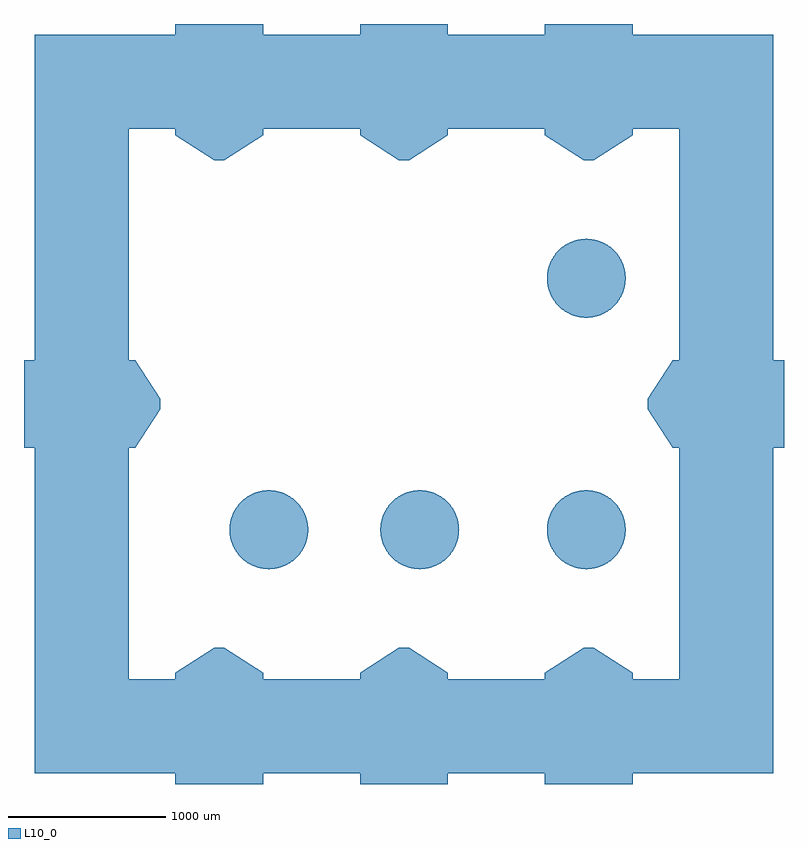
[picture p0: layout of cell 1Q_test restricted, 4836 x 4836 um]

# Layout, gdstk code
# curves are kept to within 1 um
import gdstk
lib = gdstk.Library(unit=1e-6, precision=1e-09)
def R(c, l, rs):  # rectangles x0, y0, x1, y1
    for r in rs: c.add(gdstk.rectangle(r[:2], r[2:], *l))
def P(c, l, *ps):  # polygons
    for p in ps: c.add(gdstk.Polygon(p, *l))
L10_0 = (10, 0)

c_1q_test_restricted = lib.new_cell('1Q_test restricted')
R(c_1q_test_restricted, L10_0, [(1454,0,2071,600), (1454,0,2071,600), (2629,0,3246,600), (2629,0,3246,600), (1454,4100,2071,4700), (1454,4100,2071,4700), (2629,4100,3246,4700), (2629,4100,3246,4700)])
P(c_1q_test_restricted, L10_0, [(600,4100),(896,4100),(896,4700),(0,4700),(0,2629),(600,2629)],
  [(4700,4700),(3804,4700),(3804,4100),(4100,4100),(4100,2629),(4700,2629)],
  [(4700,2071),(4100,2071),(4100,600),(3804,600),(3804,0),(4700,0)],
  [(896,600),(600,600),(600,2071),(0,2071),(0,0),(896,0)],
  [(800,2318),(800,2382),(640,2629),(-68,2629),(-68,2071),(640,2071)],
  [(3900,2382),(3900,2318),(4060,2071),(4768,2071),(4768,2629),(4060,2629)],
  [(1207,800),(1143,800),(896,640),(896,-68),(1454,-68),(1454,640)],
  [(1143,3900),(1207,3900),(1454,4060),(1454,4768),(896,4768),(896,4060)],
  [(2382,800),(2318,800),(2071,640),(2071,-68),(2629,-68),(2629,640)],
  [(2318,3900),(2382,3900),(2629,4060),(2629,4768),(2071,4768),(2071,4060)],
  [(3557,800),(3493,800),(3246,640),(3246,-68),(3804,-68),(3804,640)],
  [(3493,3900),(3557,3900),(3804,4060),(3804,4768),(3246,4768),(3246,4060)],
  [(1490,1550),(1740,1550),(1738.982,1572.538),(1735.936,1594.893),(1730.887,1616.882),(1723.877,1638.326),(1706.506,1675),(1694.356,1694.01),(1680.541,1711.847),(1661.925,1731.499),(1644.862,1746.259),(1626.538,1759.421),(1607.102,1770.878),(1586.712,1780.536),(1561.22,1789.641),(1539.326,1795.086),(1512.538,1798.982),(1490,1800),(1462.97,1798.534),(1440.674,1795.086),(1414.465,1788.316),(1393.288,1780.536),(1368.929,1768.728),(1345.99,1754.356),(1328.153,1740.541),(1308.501,1721.925),(1290.977,1701.294),(1275.786,1678.888),(1263.106,1654.972),(1253.087,1629.825),(1245.845,1603.743),(1241.466,1577.03),(1240,1550)],
  [(1490,1550),(1240,1550),(1241.018,1527.462),(1244.064,1505.107),(1249.113,1483.118),(1256.123,1461.674),(1273.494,1425),(1285.644,1405.99),(1299.459,1388.153),(1318.075,1368.501),(1335.138,1353.741),(1353.462,1340.579),(1372.898,1329.122),(1393.288,1319.464),(1418.78,1310.359),(1440.674,1304.914),(1467.462,1301.018),(1490,1300),(1517.03,1301.466),(1539.326,1304.914),(1565.535,1311.684),(1586.712,1319.464),(1611.071,1331.272),(1634.01,1345.644),(1651.847,1359.459),(1671.499,1378.075),(1689.023,1398.706),(1704.214,1421.112),(1716.894,1445.028),(1726.913,1470.175),(1734.155,1496.257),(1738.534,1522.97),(1740,1550)],
  [(2450,1550),(2700,1550),(2698.982,1572.538),(2695.936,1594.893),(2690.887,1616.882),(2683.877,1638.326),(2666.506,1675),(2654.356,1694.01),(2640.541,1711.847),(2621.925,1731.499),(2604.862,1746.259),(2586.538,1759.421),(2567.102,1770.878),(2546.712,1780.536),(2521.22,1789.641),(2499.326,1795.086),(2472.538,1798.982),(2450,1800),(2422.97,1798.534),(2400.674,1795.086),(2374.465,1788.316),(2353.288,1780.536),(2328.929,1768.728),(2305.99,1754.356),(2288.153,1740.541),(2268.501,1721.925),(2250.977,1701.294),(2235.786,1678.888),(2223.106,1654.972),(2213.087,1629.825),(2205.845,1603.743),(2201.466,1577.03),(2200,1550)],
  [(2450,1550),(2200,1550),(2201.018,1527.462),(2204.064,1505.107),(2209.113,1483.118),(2216.123,1461.674),(2233.494,1425),(2245.644,1405.99),(2259.459,1388.153),(2278.075,1368.501),(2295.138,1353.741),(2313.462,1340.579),(2332.898,1329.122),(2353.288,1319.464),(2378.78,1310.359),(2400.674,1304.914),(2427.462,1301.018),(2450,1300),(2477.03,1301.466),(2499.326,1304.914),(2525.535,1311.684),(2546.712,1319.464),(2571.071,1331.272),(2594.01,1345.644),(2611.847,1359.459),(2631.499,1378.075),(2649.023,1398.706),(2664.214,1421.112),(2676.894,1445.028),(2686.913,1470.175),(2694.155,1496.257),(2698.534,1522.97),(2700,1550)],
  [(3510,1550),(3760,1550),(3758.982,1572.538),(3755.936,1594.893),(3750.887,1616.882),(3743.877,1638.326),(3726.506,1675),(3714.356,1694.01),(3700.541,1711.847),(3681.925,1731.499),(3664.862,1746.259),(3646.538,1759.421),(3627.102,1770.878),(3606.712,1780.536),(3581.22,1789.641),(3559.326,1795.086),(3532.538,1798.982),(3510,1800),(3482.97,1798.534),(3460.674,1795.086),(3434.465,1788.316),(3413.288,1780.536),(3388.929,1768.728),(3365.99,1754.356),(3348.153,1740.541),(3328.501,1721.925),(3310.977,1701.294),(3295.786,1678.888),(3283.106,1654.972),(3273.087,1629.825),(3265.845,1603.743),(3261.466,1577.03),(3260,1550)],
  [(3510,1550),(3260,1550),(3261.018,1527.462),(3264.064,1505.107),(3269.113,1483.118),(3276.123,1461.674),(3293.494,1425),(3305.644,1405.99),(3319.459,1388.153),(3338.075,1368.501),(3355.138,1353.741),(3373.462,1340.579),(3392.898,1329.122),(3413.288,1319.464),(3438.78,1310.359),(3460.674,1304.914),(3487.462,1301.018),(3510,1300),(3537.03,1301.466),(3559.326,1304.914),(3585.535,1311.684),(3606.712,1319.464),(3631.071,1331.272),(3654.01,1345.644),(3671.847,1359.459),(3691.499,1378.075),(3709.023,1398.706),(3724.214,1421.112),(3736.894,1445.028),(3746.913,1470.175),(3754.155,1496.257),(3758.534,1522.97),(3760,1550)],
  [(3510,1550),(3760,1550),(3758.982,1572.538),(3755.936,1594.893),(3750.887,1616.882),(3743.877,1638.326),(3726.506,1675),(3714.356,1694.01),(3700.541,1711.847),(3681.925,1731.499),(3664.862,1746.259),(3646.538,1759.421),(3627.102,1770.878),(3606.712,1780.536),(3581.22,1789.641),(3559.326,1795.086),(3532.538,1798.982),(3510,1800),(3482.97,1798.534),(3460.674,1795.086),(3434.465,1788.316),(3413.288,1780.536),(3388.929,1768.728),(3365.99,1754.356),(3348.153,1740.541),(3328.501,1721.925),(3310.977,1701.294),(3295.786,1678.888),(3283.106,1654.972),(3273.087,1629.825),(3265.845,1603.743),(3261.466,1577.03),(3260,1550)],
  [(3510,1550),(3260,1550),(3261.018,1527.462),(3264.064,1505.107),(3269.113,1483.118),(3276.123,1461.674),(3293.494,1425),(3305.644,1405.99),(3319.459,1388.153),(3338.075,1368.501),(3355.138,1353.741),(3373.462,1340.579),(3392.898,1329.122),(3413.288,1319.464),(3438.78,1310.359),(3460.674,1304.914),(3487.462,1301.018),(3510,1300),(3537.03,1301.466),(3559.326,1304.914),(3585.535,1311.684),(3606.712,1319.464),(3631.071,1331.272),(3654.01,1345.644),(3671.847,1359.459),(3691.499,1378.075),(3709.023,1398.706),(3724.214,1421.112),(3736.894,1445.028),(3746.913,1470.175),(3754.155,1496.257),(3758.534,1522.97),(3760,1550)],
  [(3510,1550),(3760,1550),(3758.982,1572.538),(3755.936,1594.893),(3750.887,1616.882),(3743.877,1638.326),(3726.506,1675),(3714.356,1694.01),(3700.541,1711.847),(3681.925,1731.499),(3664.862,1746.259),(3646.538,1759.421),(3627.102,1770.878),(3606.712,1780.536),(3581.22,1789.641),(3559.326,1795.086),(3532.538,1798.982),(3510,1800),(3482.97,1798.534),(3460.674,1795.086),(3434.465,1788.316),(3413.288,1780.536),(3388.929,1768.728),(3365.99,1754.356),(3348.153,1740.541),(3328.501,1721.925),(3310.977,1701.294),(3295.786,1678.888),(3283.106,1654.972),(3273.087,1629.825),(3265.845,1603.743),(3261.466,1577.03),(3260,1550)],
  [(3510,1550),(3260,1550),(3261.018,1527.462),(3264.064,1505.107),(3269.113,1483.118),(3276.123,1461.674),(3293.494,1425),(3305.644,1405.99),(3319.459,1388.153),(3338.075,1368.501),(3355.138,1353.741),(3373.462,1340.579),(3392.898,1329.122),(3413.288,1319.464),(3438.78,1310.359),(3460.674,1304.914),(3487.462,1301.018),(3510,1300),(3537.03,1301.466),(3559.326,1304.914),(3585.535,1311.684),(3606.712,1319.464),(3631.071,1331.272),(3654.01,1345.644),(3671.847,1359.459),(3691.499,1378.075),(3709.023,1398.706),(3724.214,1421.112),(3736.894,1445.028),(3746.913,1470.175),(3754.155,1496.257),(3758.534,1522.97),(3760,1550)],
  [(3510,3150),(3760,3150),(3758.982,3172.538),(3755.936,3194.893),(3750.887,3216.882),(3743.877,3238.326),(3726.506,3275),(3714.356,3294.01),(3700.541,3311.847),(3681.925,3331.499),(3664.862,3346.259),(3646.538,3359.421),(3627.102,3370.878),(3606.712,3380.536),(3581.22,3389.641),(3559.326,3395.086),(3532.538,3398.982),(3510,3400),(3482.97,3398.534),(3460.674,3395.086),(3434.465,3388.316),(3413.288,3380.536),(3388.929,3368.728),(3365.99,3354.356),(3348.153,3340.541),(3328.501,3321.925),(3310.977,3301.294),(3295.786,3278.888),(3283.106,3254.972),(3273.087,3229.825),(3265.845,3203.743),(3261.466,3177.03),(3260,3150)],
  [(3510,3150),(3260,3150),(3261.018,3127.462),(3264.064,3105.107),(3269.113,3083.118),(3276.123,3061.674),(3293.494,3025),(3305.644,3005.99),(3319.459,2988.153),(3338.075,2968.501),(3355.138,2953.741),(3373.462,2940.579),(3392.898,2929.122),(3413.288,2919.464),(3438.78,2910.359),(3460.674,2904.914),(3487.462,2901.018),(3510,2900),(3537.03,2901.466),(3559.326,2904.914),(3585.535,2911.684),(3606.712,2919.464),(3631.071,2931.272),(3654.01,2945.644),(3671.847,2959.459),(3691.499,2978.075),(3709.023,2998.706),(3724.214,3021.112),(3736.894,3045.028),(3746.913,3070.175),(3754.155,3096.257),(3758.534,3122.97),(3760,3150)],
  [(600,4100),(896,4100),(896,4700),(0,4700),(0,2629),(600,2629)],
  [(4700,4700),(3804,4700),(3804,4100),(4100,4100),(4100,2629),(4700,2629)],
  [(4700,2071),(4100,2071),(4100,600),(3804,600),(3804,0),(4700,0)],
  [(896,600),(600,600),(600,2071),(0,2071),(0,0),(896,0)],
  [(800,2318),(800,2382),(640,2629),(-68,2629),(-68,2071),(640,2071)],
  [(3900,2382),(3900,2318),(4060,2071),(4768,2071),(4768,2629),(4060,2629)],
  [(1207,800),(1143,800),(896,640),(896,-68),(1454,-68),(1454,640)],
  [(1143,3900),(1207,3900),(1454,4060),(1454,4768),(896,4768),(896,4060)],
  [(2382,800),(2318,800),(2071,640),(2071,-68),(2629,-68),(2629,640)],
  [(2318,3900),(2382,3900),(2629,4060),(2629,4768),(2071,4768),(2071,4060)],
  [(3557,800),(3493,800),(3246,640),(3246,-68),(3804,-68),(3804,640)],
  [(3493,3900),(3557,3900),(3804,4060),(3804,4768),(3246,4768),(3246,4060)],
  [(1490,1550),(1740,1550),(1738.982,1572.538),(1735.936,1594.893),(1730.887,1616.882),(1723.877,1638.326),(1706.506,1675),(1694.356,1694.01),(1680.541,1711.847),(1661.925,1731.499),(1644.862,1746.259),(1626.538,1759.421),(1607.102,1770.878),(1586.712,1780.536),(1561.22,1789.641),(1539.326,1795.086),(1512.538,1798.982),(1490,1800),(1462.97,1798.534),(1440.674,1795.086),(1414.465,1788.316),(1393.288,1780.536),(1368.929,1768.728),(1345.99,1754.356),(1328.153,1740.541),(1308.501,1721.925),(1290.977,1701.294),(1275.786,1678.888),(1263.106,1654.972),(1253.087,1629.825),(1245.845,1603.743),(1241.466,1577.03),(1240,1550)],
  [(1490,1550),(1240,1550),(1241.018,1527.462),(1244.064,1505.107),(1249.113,1483.118),(1256.123,1461.674),(1273.494,1425),(1285.644,1405.99),(1299.459,1388.153),(1318.075,1368.501),(1335.138,1353.741),(1353.462,1340.579),(1372.898,1329.122),(1393.288,1319.464),(1418.78,1310.359),(1440.674,1304.914),(1467.462,1301.018),(1490,1300),(1517.03,1301.466),(1539.326,1304.914),(1565.535,1311.684),(1586.712,1319.464),(1611.071,1331.272),(1634.01,1345.644),(1651.847,1359.459),(1671.499,1378.075),(1689.023,1398.706),(1704.214,1421.112),(1716.894,1445.028),(1726.913,1470.175),(1734.155,1496.257),(1738.534,1522.97),(1740,1550)],
  [(2450,1550),(2700,1550),(2698.982,1572.538),(2695.936,1594.893),(2690.887,1616.882),(2683.877,1638.326),(2666.506,1675),(2654.356,1694.01),(2640.541,1711.847),(2621.925,1731.499),(2604.862,1746.259),(2586.538,1759.421),(2567.102,1770.878),(2546.712,1780.536),(2521.22,1789.641),(2499.326,1795.086),(2472.538,1798.982),(2450,1800),(2422.97,1798.534),(2400.674,1795.086),(2374.465,1788.316),(2353.288,1780.536),(2328.929,1768.728),(2305.99,1754.356),(2288.153,1740.541),(2268.501,1721.925),(2250.977,1701.294),(2235.786,1678.888),(2223.106,1654.972),(2213.087,1629.825),(2205.845,1603.743),(2201.466,1577.03),(2200,1550)],
  [(2450,1550),(2200,1550),(2201.018,1527.462),(2204.064,1505.107),(2209.113,1483.118),(2216.123,1461.674),(2233.494,1425),(2245.644,1405.99),(2259.459,1388.153),(2278.075,1368.501),(2295.138,1353.741),(2313.462,1340.579),(2332.898,1329.122),(2353.288,1319.464),(2378.78,1310.359),(2400.674,1304.914),(2427.462,1301.018),(2450,1300),(2477.03,1301.466),(2499.326,1304.914),(2525.535,1311.684),(2546.712,1319.464),(2571.071,1331.272),(2594.01,1345.644),(2611.847,1359.459),(2631.499,1378.075),(2649.023,1398.706),(2664.214,1421.112),(2676.894,1445.028),(2686.913,1470.175),(2694.155,1496.257),(2698.534,1522.97),(2700,1550)],
  [(3510,1550),(3760,1550),(3758.982,1572.538),(3755.936,1594.893),(3750.887,1616.882),(3743.877,1638.326),(3726.506,1675),(3714.356,1694.01),(3700.541,1711.847),(3681.925,1731.499),(3664.862,1746.259),(3646.538,1759.421),(3627.102,1770.878),(3606.712,1780.536),(3581.22,1789.641),(3559.326,1795.086),(3532.538,1798.982),(3510,1800),(3482.97,1798.534),(3460.674,1795.086),(3434.465,1788.316),(3413.288,1780.536),(3388.929,1768.728),(3365.99,1754.356),(3348.153,1740.541),(3328.501,1721.925),(3310.977,1701.294),(3295.786,1678.888),(3283.106,1654.972),(3273.087,1629.825),(3265.845,1603.743),(3261.466,1577.03),(3260,1550)],
  [(3510,1550),(3260,1550),(3261.018,1527.462),(3264.064,1505.107),(3269.113,1483.118),(3276.123,1461.674),(3293.494,1425),(3305.644,1405.99),(3319.459,1388.153),(3338.075,1368.501),(3355.138,1353.741),(3373.462,1340.579),(3392.898,1329.122),(3413.288,1319.464),(3438.78,1310.359),(3460.674,1304.914),(3487.462,1301.018),(3510,1300),(3537.03,1301.466),(3559.326,1304.914),(3585.535,1311.684),(3606.712,1319.464),(3631.071,1331.272),(3654.01,1345.644),(3671.847,1359.459),(3691.499,1378.075),(3709.023,1398.706),(3724.214,1421.112),(3736.894,1445.028),(3746.913,1470.175),(3754.155,1496.257),(3758.534,1522.97),(3760,1550)],
  [(3510,1550),(3760,1550),(3758.982,1572.538),(3755.936,1594.893),(3750.887,1616.882),(3743.877,1638.326),(3726.506,1675),(3714.356,1694.01),(3700.541,1711.847),(3681.925,1731.499),(3664.862,1746.259),(3646.538,1759.421),(3627.102,1770.878),(3606.712,1780.536),(3581.22,1789.641),(3559.326,1795.086),(3532.538,1798.982),(3510,1800),(3482.97,1798.534),(3460.674,1795.086),(3434.465,1788.316),(3413.288,1780.536),(3388.929,1768.728),(3365.99,1754.356),(3348.153,1740.541),(3328.501,1721.925),(3310.977,1701.294),(3295.786,1678.888),(3283.106,1654.972),(3273.087,1629.825),(3265.845,1603.743),(3261.466,1577.03),(3260,1550)],
  [(3510,1550),(3260,1550),(3261.018,1527.462),(3264.064,1505.107),(3269.113,1483.118),(3276.123,1461.674),(3293.494,1425),(3305.644,1405.99),(3319.459,1388.153),(3338.075,1368.501),(3355.138,1353.741),(3373.462,1340.579),(3392.898,1329.122),(3413.288,1319.464),(3438.78,1310.359),(3460.674,1304.914),(3487.462,1301.018),(3510,1300),(3537.03,1301.466),(3559.326,1304.914),(3585.535,1311.684),(3606.712,1319.464),(3631.071,1331.272),(3654.01,1345.644),(3671.847,1359.459),(3691.499,1378.075),(3709.023,1398.706),(3724.214,1421.112),(3736.894,1445.028),(3746.913,1470.175),(3754.155,1496.257),(3758.534,1522.97),(3760,1550)],
  [(3510,1550),(3760,1550),(3758.982,1572.538),(3755.936,1594.893),(3750.887,1616.882),(3743.877,1638.326),(3726.506,1675),(3714.356,1694.01),(3700.541,1711.847),(3681.925,1731.499),(3664.862,1746.259),(3646.538,1759.421),(3627.102,1770.878),(3606.712,1780.536),(3581.22,1789.641),(3559.326,1795.086),(3532.538,1798.982),(3510,1800),(3482.97,1798.534),(3460.674,1795.086),(3434.465,1788.316),(3413.288,1780.536),(3388.929,1768.728),(3365.99,1754.356),(3348.153,1740.541),(3328.501,1721.925),(3310.977,1701.294),(3295.786,1678.888),(3283.106,1654.972),(3273.087,1629.825),(3265.845,1603.743),(3261.466,1577.03),(3260,1550)],
  [(3510,1550),(3260,1550),(3261.018,1527.462),(3264.064,1505.107),(3269.113,1483.118),(3276.123,1461.674),(3293.494,1425),(3305.644,1405.99),(3319.459,1388.153),(3338.075,1368.501),(3355.138,1353.741),(3373.462,1340.579),(3392.898,1329.122),(3413.288,1319.464),(3438.78,1310.359),(3460.674,1304.914),(3487.462,1301.018),(3510,1300),(3537.03,1301.466),(3559.326,1304.914),(3585.535,1311.684),(3606.712,1319.464),(3631.071,1331.272),(3654.01,1345.644),(3671.847,1359.459),(3691.499,1378.075),(3709.023,1398.706),(3724.214,1421.112),(3736.894,1445.028),(3746.913,1470.175),(3754.155,1496.257),(3758.534,1522.97),(3760,1550)],
  [(3510,3150),(3760,3150),(3758.982,3172.538),(3755.936,3194.893),(3750.887,3216.882),(3743.877,3238.326),(3726.506,3275),(3714.356,3294.01),(3700.541,3311.847),(3681.925,3331.499),(3664.862,3346.259),(3646.538,3359.421),(3627.102,3370.878),(3606.712,3380.536),(3581.22,3389.641),(3559.326,3395.086),(3532.538,3398.982),(3510,3400),(3482.97,3398.534),(3460.674,3395.086),(3434.465,3388.316),(3413.288,3380.536),(3388.929,3368.728),(3365.99,3354.356),(3348.153,3340.541),(3328.501,3321.925),(3310.977,3301.294),(3295.786,3278.888),(3283.106,3254.972),(3273.087,3229.825),(3265.845,3203.743),(3261.466,3177.03),(3260,3150)],
  [(3510,3150),(3260,3150),(3261.018,3127.462),(3264.064,3105.107),(3269.113,3083.118),(3276.123,3061.674),(3293.494,3025),(3305.644,3005.99),(3319.459,2988.153),(3338.075,2968.501),(3355.138,2953.741),(3373.462,2940.579),(3392.898,2929.122),(3413.288,2919.464),(3438.78,2910.359),(3460.674,2904.914),(3487.462,2901.018),(3510,2900),(3537.03,2901.466),(3559.326,2904.914),(3585.535,2911.684),(3606.712,2919.464),(3631.071,2931.272),(3654.01,2945.644),(3671.847,2959.459),(3691.499,2978.075),(3709.023,2998.706),(3724.214,3021.112),(3736.894,3045.028),(3746.913,3070.175),(3754.155,3096.257),(3758.534,3122.97),(3760,3150)])

lib.write_gds('1Q_test_restricted.gds')
